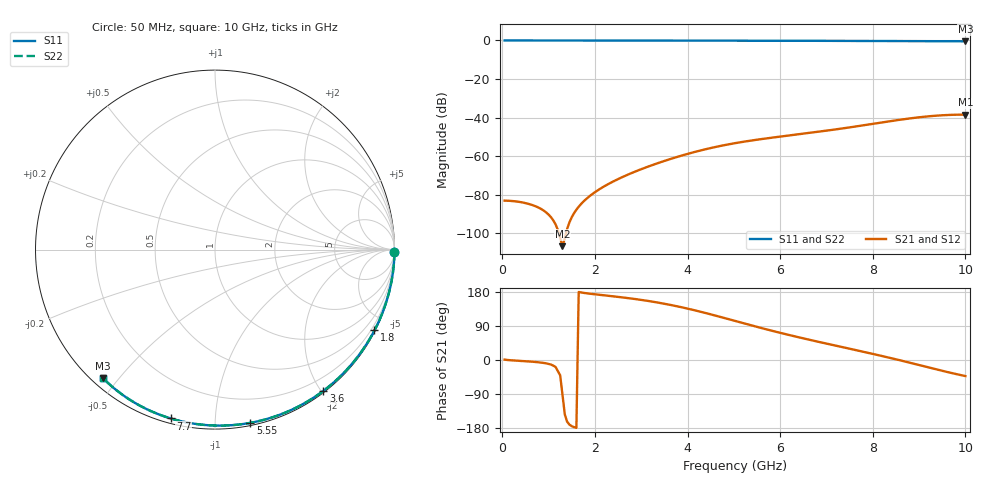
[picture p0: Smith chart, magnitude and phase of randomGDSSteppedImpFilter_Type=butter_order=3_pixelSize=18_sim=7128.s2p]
! freq	dB(S11)	phase(S11)	dB(S12)	phase(S12)
!  dB(S21)	phase(S21)	dB(S22)	phase(S22)
!S-par simulation data
#  GHz  S  DB  R 50
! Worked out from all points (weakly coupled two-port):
!   200 points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, 50 MHz to 10 GHz, reference 50 ohm
!   highest |S21| = -38.44 dB at 10 GHz (marker M1); lowest = -106.7 dB at 1.3 GHz (marker M2)
!   lowest |S11| = -0.4 dB at 10 GHz (marker M3), VSWR 38.89, Z = 1.55 - j22.7 ohm
!   |S11| at or under -10 dB: nowhere
!   |S22| runs from -0.4 to 0.0 dB; largest |S21 - S12| = 0
!   S11 on the Smith chart (normalised r, x): 50 MHz: open; 1.8 GHz: 0.04, -4.19; 3.6 GHz: 0.02, -2.03; 5.55 GHz: 0.02, -1.22; 7.7 GHz: 0.02, -0.77; 10 GHz: 0.03, -0.45
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0.05  -0.00 -0.8  -83.04 1.2  -83.04 1.2  -0.00 -0.8
0.65  -0.01 -9.8  -85.33 -4.5  -85.33 -4.5  -0.01 -9.8
1.3  -0.02 -19.5  -106.65 -91.5  -106.65 -91.5  -0.02 -19.5
1.75  -0.03 -26.1  -83.57 177.3  -83.57 177.3  -0.03 -26.1
1.8  -0.03 -26.9  -82.44 176.4  -82.44 176.4  -0.03 -26.9
1.9  -0.04 -28.3  -80.44 174.8  -80.44 174.8  -0.04 -28.3
1.95  -0.04 -29.1  -79.53 174.1  -79.53 174.1  -0.04 -29.1
2.25  -0.04 -33.4  -74.95 170.0  -74.95 170.0  -0.04 -33.4
2.55  -0.05 -37.7  -71.30 165.8  -71.30 165.8  -0.05 -37.7
2.95  -0.06 -43.4  -67.20 159.5  -67.20 159.5  -0.06 -43.4
3.4  -0.07 -49.7  -63.26 150.7  -63.26 150.7  -0.07 -49.7
3.6  -0.07 -52.5  -61.68 146.1  -61.68 146.1  -0.07 -52.5
4.3  -0.09 -62.1  -56.92 126.8  -56.92 126.8  -0.09 -62.1
5.05  -0.11 -72.0  -53.15 102.3  -53.15 102.3  -0.11 -72.0
5.55  -0.13 -78.5  -51.28 85.8  -51.28 85.8  -0.13 -78.5
6.7  -0.18 -92.8  -47.74 51.5  -47.74 51.5  -0.18 -92.8
7.7  -0.24 -104.8  -44.35 24.4  -44.35 24.4  -0.24 -104.8
8.35  -0.29 -112.3  -41.95 6.2  -41.95 6.2  -0.29 -112.3
8.85  -0.33 -118.1  -40.26 -8.6  -40.26 -8.6  -0.33 -118.1
9.25  -0.36 -122.6  -39.23 -20.9  -39.23 -20.9  -0.36 -122.6
9.6  -0.40 -126.6  -38.66 -31.4  -38.66 -31.4  -0.40 -126.6
10  -0.45 -131.1  -38.44 -42.4  -38.44 -42.4  -0.45 -131.1
